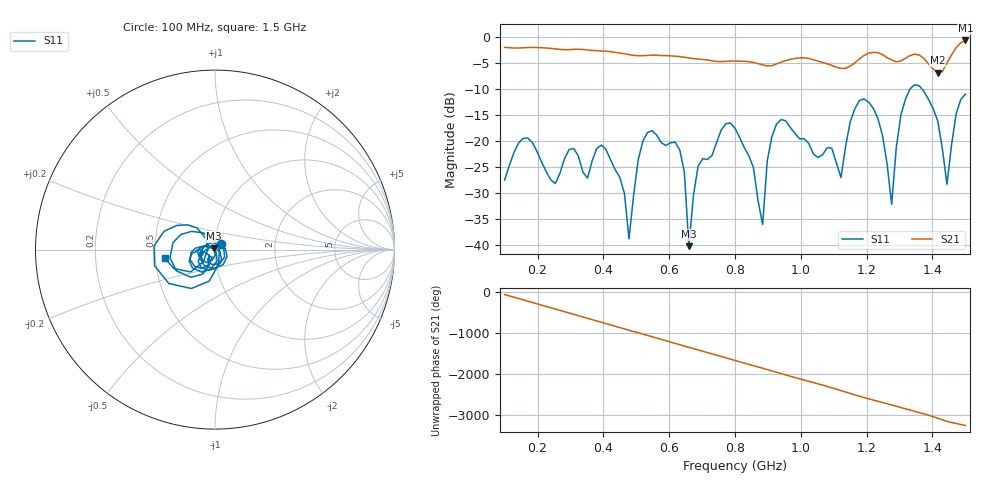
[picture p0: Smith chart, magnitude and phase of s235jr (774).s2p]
! NanoVNA-App
! Date: 2025-09-25 15:10:11
! Start: 100MHz Stop: 1,5GHz Points: 101
! S-Parameter data: F S11 S21 S12 S22
# Hz S RI R 50
!  Frequency  S11_Real  S11_Imag  S21_Real  S21_Imag  S12_Real  S12_Imag  S22_Real  S22_Imag
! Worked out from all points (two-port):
!   101 points, 100 MHz to 1.5 GHz, reference 50 ohm
!   highest |S21| = -0.64 dB at 1.5 GHz (marker M1); lowest = -6.8 dB at 1.416 GHz (marker M2)
!   |S21| within 3 dB of the highest: start of sweep to 613.2 MHz; 1.19 GHz to 1.255 GHz (64.99 MHz wide, 5.32 % of centre) (the widest 2 of 4)
!   lowest |S11| = -40.2 dB at 660 MHz (marker M3), VSWR 1.02, Z = 49.3 + j0.624 ohm
!   |S11| at or under -10 dB: start of sweep to 1.331 GHz; 1.368 GHz to end of sweep
!   S12 and S22 are empty: the file has one direction only
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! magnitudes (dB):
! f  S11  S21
! 100 MHz  -27.5  -2.0
! 170 MHz  -19.4  -2.0
! 338 MHz  -26.0  -2.4
! 408 MHz  -21.6  -2.7
! 478 MHz  -38.7  -3.4
! 520 MHz  -20.0  -3.6
! 576 MHz  -20.3  -3.5
! 632 MHz  -21.6  -3.7
! 660 MHz  -40.2  -4.0
! 688 MHz  -24.8  -4.2
! 800 MHz  -17.5  -4.6
! 884 MHz  -36.0  -5.3
! 926 MHz  -16.7  -5.2
! 1.038 GHz  -22.4  -4.4
! 1.122 GHz  -27.0  -6.0
! 1.192 GHz  -11.9  -3.5
! 1.248 GHz  -18.8  -3.3
! 1.276 GHz  -32.1  -4.4
! 1.332 GHz  -9.9  -3.5
! 1.416 GHz  -16.1  -6.8
! 1.444 GHz  -28.3  -4.9
! 1.5 GHz  -11.0  -0.6
